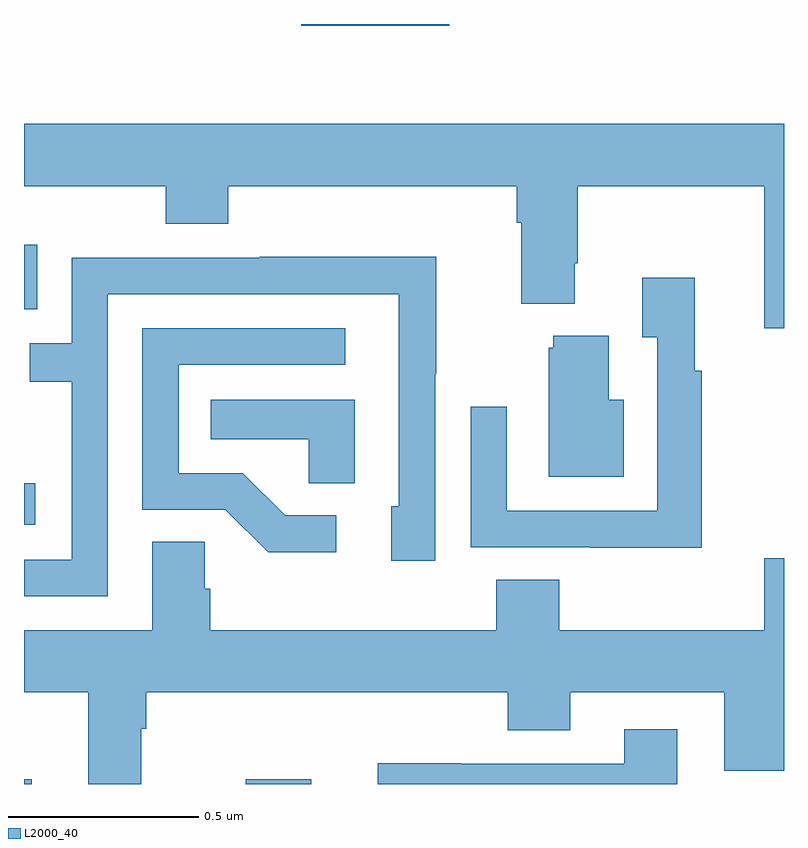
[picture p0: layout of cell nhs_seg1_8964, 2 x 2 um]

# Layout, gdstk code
import gdstk
lib = gdstk.Library(unit=1e-6, precision=1e-09)
def R(c, l, rs):  # rectangles x0, y0, x1, y1
    for r in rs: c.add(gdstk.rectangle(r[:2], r[2:], *l))
def P(c, l, *ps):  # polygons
    for p in ps: c.add(gdstk.Polygon(p, *l))
L2000_40 = (2000, 40)

nhs_seg1_8964 = lib.new_cell('nhs_seg1_8964')
R(nhs_seg1_8964, L2000_40, [(223,510.199,223.021,510.211), (223.583,510.199,223.756,510.211), (223,510.881,223.03,510.991), (223,511.449,223.035,511.618), (223.73,512.195,224.119,512.199)])
P(nhs_seg1_8964, L2000_40, [(223,511.772),(223.373,511.772),(223.373,511.673),(223.538,511.673),(223.538,511.772),(224.297,511.772),(224.297,511.676),(224.309,511.676),(224.309,511.463),(224.449,511.463),(224.449,511.57),(224.457,511.57),(224.457,511.772),(224.948,511.772),(224.948,511.398),(225,511.398),(225,511.936),(223,511.936)],
  [(223.221,511.488),(223.986,511.488),(223.986,510.93),(223.967,510.93),(223.967,510.786),(224.082,510.786),(224.082,511.279),(224.085,511.279),(224.085,511.586),(223.621,511.586),(223.621,511.584),(223.125,511.584),(223.125,511.359),(223.015,511.359),(223.015,511.258),(223.125,511.258),(223.125,510.789),(223,510.789),(223,510.693),(223.221,510.693)],
  [(224.783,511.286),(224.765,511.286),(224.765,511.531),(224.627,511.531),(224.627,511.375),(224.667,511.375),(224.667,510.918),(224.271,510.918),(224.271,511.192),(224.175,511.192),(224.175,510.822),(224.491,510.822),(224.491,510.821),(224.783,510.821)],
  [(223.822,510.906),(223.687,510.906),(223.576,511.017),(223.407,511.017),(223.407,511.302),(223.846,511.302),(223.846,511.398),(223.311,511.398),(223.311,510.921),(223.53,510.921),(223.643,510.809),(223.822,510.809)],
  [(224.578,511.21),(224.539,511.21),(224.539,511.378),(224.393,511.378),(224.393,511.347),(224.381,511.347),(224.381,511.007),(224.578,511.007)],
  [(223.87,511.21),(223.492,511.21),(223.492,511.106),(223.749,511.106),(223.749,510.991),(223.87,510.991)],
  [(223.309,510.344),(223.322,510.344),(223.322,510.44),(224.273,510.44),(224.273,510.341),(224.437,510.341),(224.437,510.44),(224.843,510.44),(224.843,510.234),(225,510.234),(225,510.793),(224.948,510.793),(224.948,510.604),(224.408,510.604),(224.408,510.737),(224.243,510.737),(224.243,510.604),(223.49,510.604),(223.49,510.713),(223.476,510.713),(223.476,510.836),(223.337,510.836),(223.337,510.604),(223,510.604),(223,510.44),(223.169,510.44),(223.169,510.199),(223.309,510.199)],
  [(224.719,510.343),(224.579,510.343),(224.579,510.252),(224.149,510.252),(224.149,510.254),(223.931,510.254),(223.931,510.199),(224.719,510.199)])

lib.write_gds('nhs_seg1_8964.gds')
